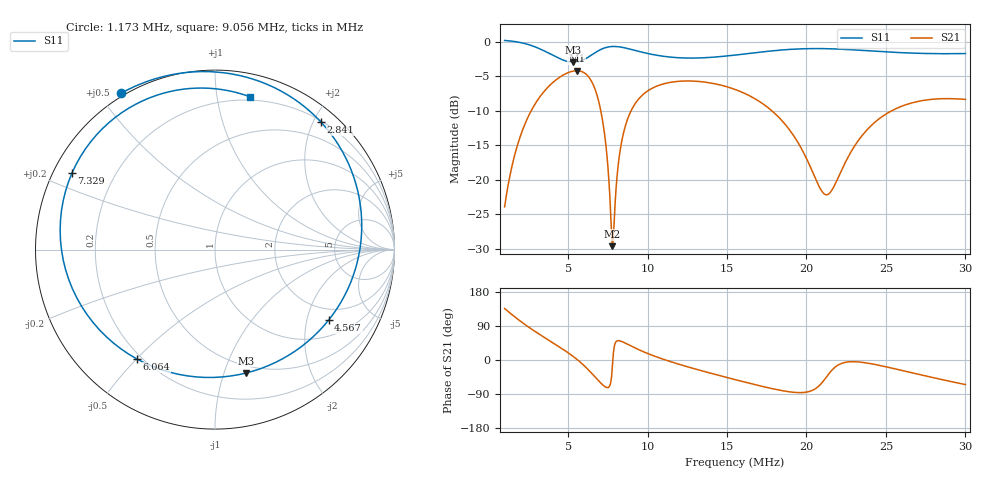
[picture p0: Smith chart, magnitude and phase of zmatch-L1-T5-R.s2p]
# HZ S RI R 50
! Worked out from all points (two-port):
!   505 points, 1 MHz to 30 MHz, reference 50 ohm
!   highest |S21| = -4.21 dB at 5.546 MHz (marker M1); lowest = -29.6 dB at 7.79 MHz (marker M2)
!   |S21| within 3 dB of the highest: 3.485 MHz to 6.742 MHz (3.257 MHz wide, 63.7 % of centre); 9.957 MHz to 15.83 MHz (5.871 MHz wide, 45.5 % of centre)
!   lowest |S11| = -3.0 dB at 5.316 MHz (marker M3), VSWR 5.88, Z = 21.5 - j59.6 ohm
!   |S11| at or under -10 dB: nowhere
!   S12 and S22 are empty: the file has one direction only
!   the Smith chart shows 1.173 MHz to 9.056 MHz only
!   S11 on the Smith chart (normalised r, x): 1.173 MHz: -0.01, +0.57; 2.841 MHz: 0.22, +2.11; 4.567 MHz: 1.54, -2.72; 6.064 MHz: 0.18, -0.50; 7.329 MHz: 0.05, +0.25; 9.056 MHz: 0.17, +1.24
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1000000  -0.6324 0.8003  -0.0458 0.0444  0 0  0 0
1172620  -0.5235 0.8708  -0.0545 0.0655  0 0  0 0
1978180  0.0492 0.9852  -0.0458 0.2  0 0  0 0
2841280  0.5905 0.7105  0.0745 0.3342  0 0  0 0
3704380  0.8169 0.1661  0.2724 0.3774  0 0  0 0
4567480  0.6332 -0.3926  0.481 0.2918  0 0  0 0
5315500  0.1746 -0.6873  0.604 0.1004  0 0  0 0
5545660  -0.00744 -0.7122  0.6158 0.0204  0 0  0 0
5833360  -0.2469 -0.6845  0.6024 -0.088  0 0  0 0
6063520  -0.4353 -0.6093  0.5632 -0.1746  0 0  0 0
6754000  -0.8324 -0.1118  0.2917 -0.319  0 0  0 0
7329400  -0.7971 0.4256  0.0654 -0.1864  0 0  0 0
7789720  -0.5557 0.7365  0.0323 -0.00767  0 0  0 0
8307580  -0.214 0.8882  0.1118 0.1325  0 0  0 0
9055600  0.196 0.851  0.2721 0.1903  0 0  0 0
1.066672e7  0.6178 0.4982  0.4778 0.0557  0 0  0 0
1.550008e7  0.7109 -0.3656  0.2795 -0.3543  0 0  0 0
1.831954e7  0.3663 -0.787  0.0496 -0.2743  0 0  0 0
2.033344e7  -0.07 -0.8882  0.0189 -0.1161  0 0  0 0
2.14267e7  -0.3144 -0.8311  0.0649 -0.0461  0 0  0 0
2.51668e7  -0.8046 -0.2462  0.2897 -0.1023  0 0  0 0
3.000016e7  -0.6401 0.5126  0.1624 -0.3458  0 0  0 0
